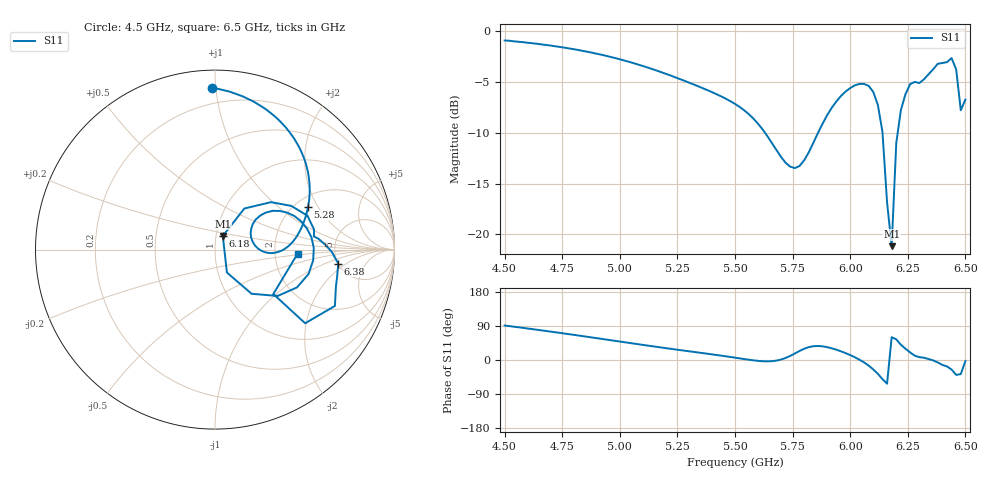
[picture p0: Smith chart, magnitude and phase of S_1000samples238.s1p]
! TOUCHSTONE file generated by CST MICROWAVE STUDIO
! Date and time: Thu Oct 27 11:47:31 2022
! Project name: L.cst
! Parameters = {Di=1.27; Epsilon_r=1.56; InnerDiameter=1.27; Length=2; Lf=10; Lg=60; OuterConductorThickness=0.2921; OuterDiameter=3.6; Wf=3; Wp=41.2; de=1.5; df=6.8; g=0.8; gx=2.11596; gy=4.70194; h=2.34; hf=1.524; px=13.4225; py=14.7765; w=9.7; wx=11.3065; wy=10.0746}
! Header version: 2018
! Port assignment regex: !\s*Touchstone port\s*([0-9]+)\s*=\s*(CST MWS port|CST DS port)\s*([0-9]+|Zmin|Zmax)\s*\(\"(.*)\"\)(\s*mode\s*([0-9]+))?.*
! Touchstone port assignment:
! Touchstone port 1 = CST MWS port 1 ("")
# GHz S DB R 50
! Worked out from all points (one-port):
!   101 points, 4.5 GHz to 6.5 GHz, reference 50 ohm
!   lowest |S11| = -21.2 dB at 6.18 GHz (marker M1), VSWR 1.19, Z = 53.9 + j8.24 ohm
!   |S11| at or under -10 dB: 5.63 GHz to 5.86 GHz (230.1 MHz wide, 4.01 % of centre); 6.14 GHz to 6.206 GHz (65.96 MHz wide, 1.07 % of centre)
!   S11 on the Smith chart (normalised r, x): 4.5 GHz: 0.10, +0.98; 5.28 GHz: 2.34, +1.65; 6.18 GHz: 1.08, +0.16; 6.38 GHz: 5.02, -1.49; 6.5 GHz: 2.70, -0.16
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4.5  -0.91 91.1
4.76  -1.61 69.8
5  -2.76 48.7
5.26  -4.70 26.3
5.28  -4.87 24.6
5.5  -7.15 6.2
5.64  -10.31 -3.7
5.76  -13.48 17.2
5.82  -11.94 33.9
5.9  -8.26 34.0
6  -5.60 13.0
6.04  -5.19 0.9
6.08  -5.38 -14.7
6.12  -7.25 -36.5
6.14  -9.91 -50.4
6.16  -16.84 -62.5
6.18  -21.17 60.2
6.2  -11.01 54.5
6.22  -7.76 40.2
6.26  -5.21 20.1
6.28  -4.99 11.4
6.34  -4.23 2.6
6.38  -3.21 -6.4
6.42  -3.05 -16.9
6.44  -2.64 -25.2
6.46  -3.76 -39.3
6.48  -7.78 -37.3
6.5  -6.73 -2.8
